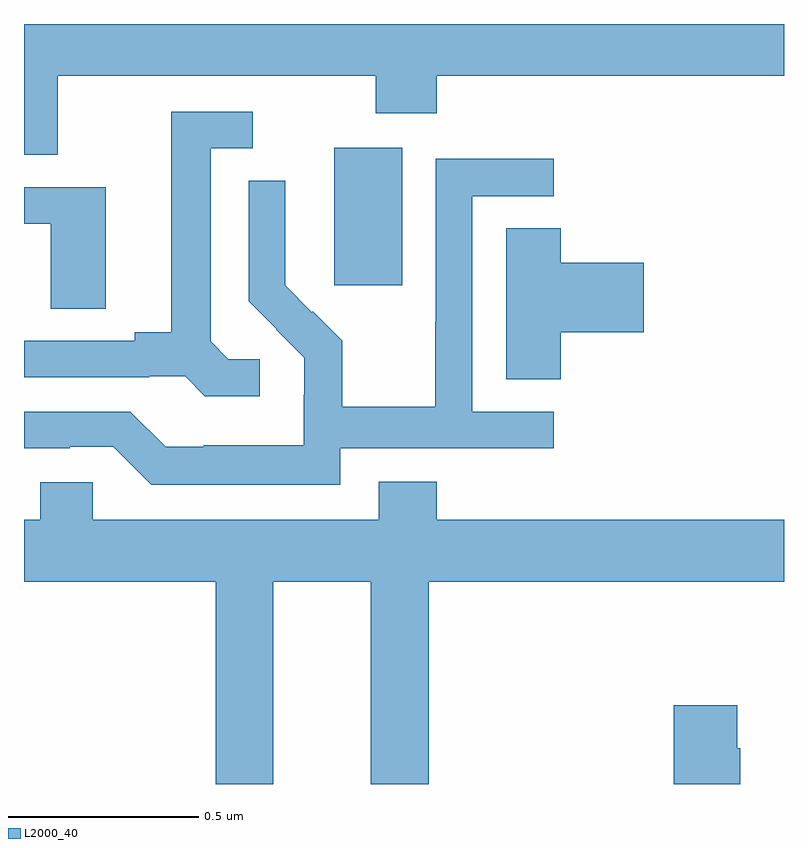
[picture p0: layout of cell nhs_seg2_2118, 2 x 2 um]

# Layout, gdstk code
import gdstk
lib = gdstk.Library(unit=1e-6, precision=1e-09)
def R(c, l, rs):  # rectangles x0, y0, x1, y1
    for r in rs: c.add(gdstk.rectangle(r[:2], r[2:], *l))
def P(c, l, *ps):  # polygons
    for p in ps: c.add(gdstk.Polygon(p, *l))
L2000_40 = (2000, 40)

nhs_seg2_2118 = lib.new_cell('nhs_seg2_2118')
R(nhs_seg2_2118, L2000_40, [(137.816,619.113,137.995,619.474)])
P(nhs_seg2_2118, L2000_40, [(137.089,619.664),(137.926,619.664),(137.926,619.565),(138.086,619.565),(138.086,619.664),(139,619.664),(139,619.8),(137,619.8),(137,619.456),(137.089,619.456)],
  [(137.62,618.918),(137.538,618.918),(137.491,618.965),(137.491,619.473),(137.602,619.473),(137.602,619.569),(137.387,619.569),(137.387,618.989),(137.291,618.989),(137.291,618.966),(137,618.966),(137,618.87),(137.33,618.87),(137.33,618.873),(137.424,618.873),(137.476,618.821),(137.62,618.821)],
  [(137.832,618.684),(138.394,618.684),(138.394,618.78),(138.18,618.78),(138.18,619.347),(138.394,619.347),(138.394,619.446),(138.084,619.446),(138.084,619.016),(138.082,619.016),(138.082,618.793),(137.837,618.793),(137.837,618.967),(137.76,619.044),(137.757,619.041),(137.687,619.112),(137.687,619.234),(137.688,619.234),(137.688,619.388),(137.592,619.388),(137.592,619.07),(137.665,618.997),(137.664,618.996),(137.738,618.922),(137.738,618.825),(137.736,618.825),(137.736,618.691),(137.473,618.691),(137.473,618.687),(137.373,618.687),(137.28,618.78),(137,618.78),(137,618.683),(137.001,618.684),(137.12,618.684),(137.12,618.687),(137.235,618.687),(137.335,618.587),(137.832,618.587)],
  [(137.215,619.371),(137,619.371),(137,619.275),(137.07,619.275),(137.07,619.051),(137.215,619.051)],
  [(138.413,618.989),(138.631,618.989),(138.631,619.172),(138.413,619.172),(138.413,619.262),(138.269,619.262),(138.269,618.865),(138.413,618.865)],
  [(137.656,618.332),(137.912,618.332),(137.912,617.8),(138.065,617.8),(138.065,618.332),(139,618.332),(139,618.496),(138.086,618.496),(138.086,618.595),(137.933,618.595),(137.933,618.496),(137.181,618.496),(137.181,618.594),(137.043,618.594),(137.043,618.496),(137,618.496),(137,618.332),(137.504,618.332),(137.504,617.8),(137.656,617.8)],
  [(138.885,617.894),(138.877,617.894),(138.877,618.007),(138.71,618.007),(138.71,617.8),(138.885,617.8)])

lib.write_gds('nhs_seg2_2118.gds')
